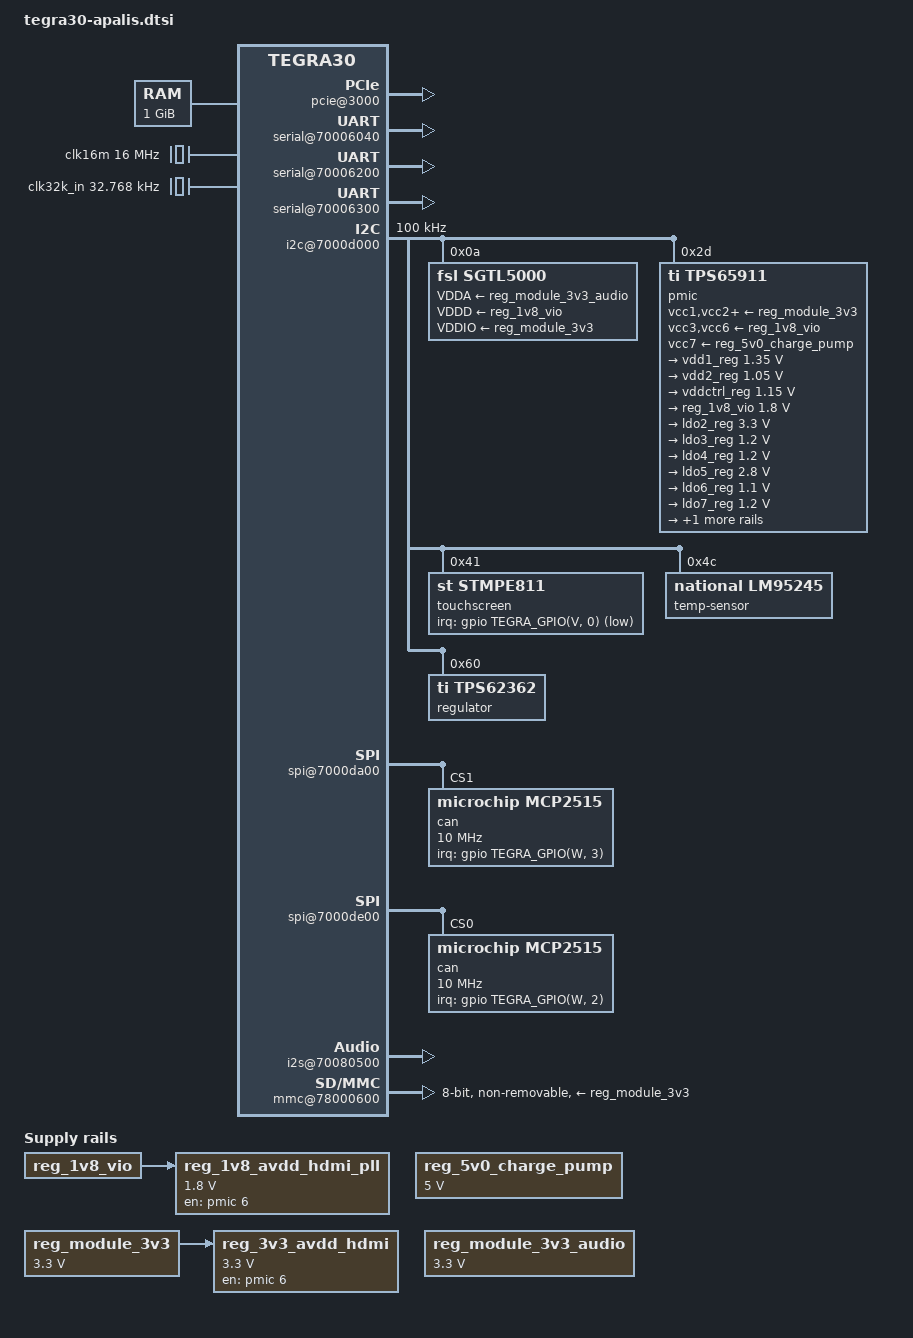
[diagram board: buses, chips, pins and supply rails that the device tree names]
// SPDX-License-Identifier: GPL-2.0
#include "tegra30.dtsi"

/*
 * Toradex Apalis T30 Module Device Tree
 * Compatible for Revisions 1GB: V1.0A; 2GB: V1.0B, V1.0C, V1.0E
 */
/ {
	memory@80000000 {
		reg = <0x80000000 0x40000000>;
	};

	pcie@3000 {
		status = "okay";
		avdd-pexa-supply = <&vdd2_reg>;
		avdd-pexb-supply = <&vdd2_reg>;
		avdd-pex-pll-supply = <&vdd2_reg>;
		avdd-plle-supply = <&ldo6_reg>;
		hvdd-pex-supply = <&reg_module_3v3>;
		vddio-pex-ctl-supply = <&reg_module_3v3>;
		vdd-pexa-supply = <&vdd2_reg>;
		vdd-pexb-supply = <&vdd2_reg>;

		/* Apalis type specific */
		pci@1,0 {
			nvidia,num-lanes = <4>;
		};

		/* Apalis PCIe */
		pci@2,0 {
			nvidia,num-lanes = <1>;
		};

		/* I210/I211 Gigabit Ethernet Controller (on-module) */
		pci@3,0 {
			status = "okay";
			nvidia,num-lanes = <1>;

			ethernet@0,0 {
				reg = <0 0 0 0 0>;
				local-mac-address = [00 00 00 00 00 00];
			};
		};
	};

	host1x@50000000 {
		hdmi@54280000 {
			nvidia,ddc-i2c-bus = <&hdmi_ddc>;
			nvidia,hpd-gpio =
				<&gpio TEGRA_GPIO(N, 7) GPIO_ACTIVE_HIGH>;
			pll-supply = <&reg_1v8_avdd_hdmi_pll>;
			vdd-supply = <&reg_3v3_avdd_hdmi>;
		};
	};

	pinmux@70000868 {
		pinctrl-names = "default";
		pinctrl-0 = <&state_default>;

		state_default: pinmux {
			/* Analogue Audio (On-module) */
			clk1-out-pw4 {
				nvidia,pins = "clk1_out_pw4";
				nvidia,function = "extperiph1";
				nvidia,pull = <TEGRA_PIN_PULL_NONE>;
				nvidia,tristate = <TEGRA_PIN_DISABLE>;
				nvidia,enable-input = <TEGRA_PIN_DISABLE>;
			};
			dap3-fs-pp0 {
				nvidia,pins = "dap3_fs_pp0",
					      "dap3_sclk_pp3",
					      "dap3_din_pp1",
					      "dap3_dout_pp2";
				nvidia,function = "i2s2";
				nvidia,pull = <TEGRA_PIN_PULL_NONE>;
				nvidia,tristate = <TEGRA_PIN_DISABLE>;
			};

			/* Apalis BKL1_ON */
			pv2 {
				nvidia,pins = "pv2";
				nvidia,function = "rsvd4";
				nvidia,pull = <TEGRA_PIN_PULL_NONE>;
				nvidia,tristate = <TEGRA_PIN_DISABLE>;
				nvidia,enable-input = <TEGRA_PIN_DISABLE>;
			};

			/* Apalis BKL1_PWM */
			uart3-rts-n-pc0 {
				nvidia,pins = "uart3_rts_n_pc0";
				nvidia,function = "pwm0";
				nvidia,pull = <TEGRA_PIN_PULL_NONE>;
				nvidia,tristate = <TEGRA_PIN_DISABLE>;
				nvidia,enable-input = <TEGRA_PIN_DISABLE>;
			};
			/* BKL1_PWM_EN#, disable TPS65911 PMIC PWM backlight */
			uart3-cts-n-pa1 {
				nvidia,pins = "uart3_cts_n_pa1";
				nvidia,function = "rsvd2";
				nvidia,pull = <TEGRA_PIN_PULL_UP>;
				nvidia,tristate = <TEGRA_PIN_DISABLE>;
				nvidia,enable-input = <TEGRA_PIN_DISABLE>;
			};

			/* Apalis CAN1 on SPI6 */
			spi2-cs0-n-px3 {
				nvidia,pins = "spi2_cs0_n_px3",
					      "spi2_miso_px1",
					      "spi2_mosi_px0",
					      "spi2_sck_px2";
				nvidia,function = "spi6";
				nvidia,pull = <TEGRA_PIN_PULL_NONE>;
				nvidia,tristate = <TEGRA_PIN_DISABLE>;
			};
			/* CAN_INT1 */
			spi2-cs1-n-pw2 {
				nvidia,pins = "spi2_cs1_n_pw2";
				nvidia,function = "spi3";
				nvidia,pull = <TEGRA_PIN_PULL_NONE>;
				nvidia,tristate = <TEGRA_PIN_DISABLE>;
				nvidia,enable-input = <TEGRA_PIN_ENABLE>;
			};

			/* Apalis CAN2 on SPI4 */
			gmi-a16-pj7 {
				nvidia,pins = "gmi_a16_pj7",
					      "gmi_a17_pb0",
					      "gmi_a18_pb1",
					      "gmi_a19_pk7";
				nvidia,function = "spi4";
				nvidia,pull = <TEGRA_PIN_PULL_NONE>;
				nvidia,tristate = <TEGRA_PIN_DISABLE>;
				nvidia,enable-input = <TEGRA_PIN_ENABLE>;
			};
			/* CAN_INT2 */
			spi2-cs2-n-pw3 {
				nvidia,pins = "spi2_cs2_n_pw3";
				nvidia,function = "spi3";
				nvidia,pull = <TEGRA_PIN_PULL_NONE>;
				nvidia,tristate = <TEGRA_PIN_DISABLE>;
				nvidia,enable-input = <TEGRA_PIN_ENABLE>;
			};

			/* Apalis Digital Audio */
			clk1-req-pee2 {
				nvidia,pins = "clk1_req_pee2";
				nvidia,function = "hda";
				nvidia,pull = <TEGRA_PIN_PULL_NONE>;
				nvidia,tristate = <TEGRA_PIN_DISABLE>;
			};
			clk2-out-pw5 {
				nvidia,pins = "clk2_out_pw5";
				nvidia,function = "extperiph2";
				nvidia,pull = <TEGRA_PIN_PULL_NONE>;
				nvidia,tristate = <TEGRA_PIN_DISABLE>;
				nvidia,enable-input = <TEGRA_PIN_DISABLE>;
			};
			dap1-fs-pn0 {
				nvidia,pins = "dap1_fs_pn0",
					      "dap1_din_pn1",
					      "dap1_dout_pn2",
					      "dap1_sclk_pn3";
				nvidia,function = "hda";
				nvidia,pull = <TEGRA_PIN_PULL_NONE>;
				nvidia,tristate = <TEGRA_PIN_DISABLE>;
			};

			/* Apalis GPIO */
			kb-col0-pq0 {
				nvidia,pins = "kb_col0_pq0",
					      "kb_col1_pq1",
					      "kb_row10_ps2",
					      "kb_row11_ps3",
					      "kb_row12_ps4",
					      "kb_row13_ps5",
					      "kb_row14_ps6",
					      "kb_row15_ps7";
				nvidia,function = "kbc";
				nvidia,pull = <TEGRA_PIN_PULL_NONE>;
				nvidia,tristate = <TEGRA_PIN_DISABLE>;
				nvidia,enable-input = <TEGRA_PIN_ENABLE>;
			};
			/* Multiplexed and therefore disabled */
			owr {
				nvidia,pins = "owr";
				nvidia,function = "rsvd3";
				nvidia,pull = <TEGRA_PIN_PULL_DOWN>;
				nvidia,tristate = <TEGRA_PIN_ENABLE>;
				nvidia,enable-input = <TEGRA_PIN_DISABLE>;
			};

			/* Apalis HDMI1 */
			hdmi-cec-pee3 {
				nvidia,pins = "hdmi_cec_pee3";
				nvidia,function = "cec";
				nvidia,pull = <TEGRA_PIN_PULL_NONE>;
				nvidia,tristate = <TEGRA_PIN_DISABLE>;
				nvidia,enable-input = <TEGRA_PIN_ENABLE>;
				nvidia,open-drain = <TEGRA_PIN_DISABLE>;
			};
			hdmi-int-pn7 {
				nvidia,pins = "hdmi_int_pn7";
				nvidia,function = "hdmi";
				nvidia,pull = <TEGRA_PIN_PULL_NONE>;
				nvidia,tristate = <TEGRA_PIN_ENABLE>;
				nvidia,enable-input = <TEGRA_PIN_ENABLE>;
			};

			/* Apalis I2C1 */
			gen1-i2c-scl-pc4 {
				nvidia,pins = "gen1_i2c_scl_pc4",
					      "gen1_i2c_sda_pc5";
				nvidia,function = "i2c1";
				nvidia,pull = <TEGRA_PIN_PULL_NONE>;
				nvidia,tristate = <TEGRA_PIN_DISABLE>;
				nvidia,enable-input = <TEGRA_PIN_ENABLE>;
				nvidia,open-drain = <TEGRA_PIN_ENABLE>;
			};

			/* Apalis I2C2 (DDC) */
			ddc-scl-pv4 {
				nvidia,pins = "ddc_scl_pv4",
					      "ddc_sda_pv5";
				nvidia,function = "i2c4";
				nvidia,pull = <TEGRA_PIN_PULL_NONE>;
				nvidia,tristate = <TEGRA_PIN_DISABLE>;
				nvidia,enable-input = <TEGRA_PIN_ENABLE>;
			};

			/* Apalis I2C3 (CAM) */
			cam-i2c-scl-pbb1 {
				nvidia,pins = "cam_i2c_scl_pbb1",
					      "cam_i2c_sda_pbb2";
				nvidia,function = "i2c3";
				nvidia,pull = <TEGRA_PIN_PULL_NONE>;
				nvidia,tristate = <TEGRA_PIN_DISABLE>;
				nvidia,enable-input = <TEGRA_PIN_ENABLE>;
				nvidia,open-drain = <TEGRA_PIN_ENABLE>;
			};

			/* Apalis LCD1 */
			lcd-d0-pe0 {
				nvidia,pins = "lcd_d0_pe0",
					      "lcd_d1_pe1",
					      "lcd_d2_pe2",
					      "lcd_d3_pe3",
					      "lcd_d4_pe4",
					      "lcd_d5_pe5",
					      "lcd_d6_pe6",
					      "lcd_d7_pe7",
					      "lcd_d8_pf0",
					      "lcd_d9_pf1",
					      "lcd_d10_pf2",
					      "lcd_d11_pf3",
					      "lcd_d12_pf4",
					      "lcd_d13_pf5",
					      "lcd_d14_pf6",
					      "lcd_d15_pf7",
					      "lcd_d16_pm0",
					      "lcd_d17_pm1",
					      "lcd_d18_pm2",
					      "lcd_d19_pm3",
					      "lcd_d20_pm4",
					      "lcd_d21_pm5",
					      "lcd_d22_pm6",
					      "lcd_d23_pm7",
					      "lcd_de_pj1",
					      "lcd_hsync_pj3",
					      "lcd_pclk_pb3",
					      "lcd_vsync_pj4";
				nvidia,function = "displaya";
				nvidia,pull = <TEGRA_PIN_PULL_NONE>;
				nvidia,tristate = <TEGRA_PIN_DISABLE>;
				nvidia,enable-input = <TEGRA_PIN_ENABLE>;
			};

			/* Apalis MMC1 */
			sdmmc3-clk-pa6 {
				nvidia,pins = "sdmmc3_clk_pa6";
				nvidia,function = "sdmmc3";
				nvidia,pull = <TEGRA_PIN_PULL_NONE>;
				nvidia,tristate = <TEGRA_PIN_DISABLE>;
			};
			sdmmc3-dat0-pb7 {
				nvidia,pins = "sdmmc3_cmd_pa7",
					      "sdmmc3_dat0_pb7",
					      "sdmmc3_dat1_pb6",
					      "sdmmc3_dat2_pb5",
					      "sdmmc3_dat3_pb4",
					      "sdmmc3_dat4_pd1",
					      "sdmmc3_dat5_pd0",
					      "sdmmc3_dat6_pd3",
					      "sdmmc3_dat7_pd4";
				nvidia,function = "sdmmc3";
				nvidia,pull = <TEGRA_PIN_PULL_UP>;
				nvidia,tristate = <TEGRA_PIN_DISABLE>;
			};
			/* Apalis MMC1_CD# */
			pv3 {
				nvidia,pins = "pv3";
				nvidia,function = "rsvd2";
				nvidia,pull = <TEGRA_PIN_PULL_UP>;
				nvidia,tristate = <TEGRA_PIN_DISABLE>;
				nvidia,enable-input = <TEGRA_PIN_ENABLE>;
			};

			/* Apalis Parallel Camera */
			cam-mclk-pcc0 {
				nvidia,pins = "cam_mclk_pcc0";
				nvidia,function = "vi_alt3";
				nvidia,pull = <TEGRA_PIN_PULL_NONE>;
				nvidia,tristate = <TEGRA_PIN_DISABLE>;
				nvidia,enable-input = <TEGRA_PIN_DISABLE>;
			};
			vi-vsync-pd6 {
				nvidia,pins = "vi_d0_pt4",
					      "vi_d1_pd5",
					      "vi_d2_pl0",
					      "vi_d3_pl1",
					      "vi_d4_pl2",
					      "vi_d5_pl3",
					      "vi_d6_pl4",
					      "vi_d7_pl5",
					      "vi_d8_pl6",
					      "vi_d9_pl7",
					      "vi_d10_pt2",
					      "vi_d11_pt3",
					      "vi_hsync_pd7",
					      "vi_pclk_pt0",
					      "vi_vsync_pd6";
				nvidia,function = "vi";
				nvidia,pull = <TEGRA_PIN_PULL_NONE>;
				nvidia,tristate = <TEGRA_PIN_DISABLE>;
				nvidia,enable-input = <TEGRA_PIN_ENABLE>;
			};
			/* Multiplexed and therefore disabled */
			kb-col2-pq2 {
				nvidia,pins = "kb_col2_pq2",
					      "kb_col3_pq3",
					      "kb_col4_pq4",
					      "kb_row4_pr4";
				nvidia,function = "rsvd4";
				nvidia,pull = <TEGRA_PIN_PULL_DOWN>;
				nvidia,tristate = <TEGRA_PIN_ENABLE>;
				nvidia,enable-input = <TEGRA_PIN_DISABLE>;
			};
			kb-row0-pr0 {
				nvidia,pins = "kb_row0_pr0",
					      "kb_row1_pr1",
					      "kb_row2_pr2",
					      "kb_row3_pr3";
				nvidia,function = "rsvd3";
				nvidia,pull = <TEGRA_PIN_PULL_DOWN>;
				nvidia,tristate = <TEGRA_PIN_ENABLE>;
				nvidia,enable-input = <TEGRA_PIN_DISABLE>;
			};
			kb-row5-pr5 {
				nvidia,pins = "kb_row5_pr5",
					      "kb_row6_pr6",
					      "kb_row7_pr7";
				nvidia,function = "kbc";
				nvidia,pull = <TEGRA_PIN_PULL_DOWN>;
				nvidia,tristate = <TEGRA_PIN_ENABLE>;
				nvidia,enable-input = <TEGRA_PIN_DISABLE>;
			};
			/*
			 * VI level-shifter direction
			 * (pull-down => default direction input)
			 */
			vi-mclk-pt1 {
				nvidia,pins = "vi_mclk_pt1";
				nvidia,function = "vi_alt3";
				nvidia,pull = <TEGRA_PIN_PULL_DOWN>;
				nvidia,tristate = <TEGRA_PIN_ENABLE>;
				nvidia,enable-input = <TEGRA_PIN_DISABLE>;
			};

			/* Apalis PWM1 */
			pu6 {
				nvidia,pins = "pu6";
				nvidia,function = "pwm3";
				nvidia,pull = <TEGRA_PIN_PULL_NONE>;
				nvidia,tristate = <TEGRA_PIN_DISABLE>;
			};

			/* Apalis PWM2 */
			pu5 {
				nvidia,pins = "pu5";
				nvidia,function = "pwm2";
				nvidia,pull = <TEGRA_PIN_PULL_NONE>;
				nvidia,tristate = <TEGRA_PIN_DISABLE>;
			};

			/* Apalis PWM3 */
			pu4 {
				nvidia,pins = "pu4";
				nvidia,function = "pwm1";
				nvidia,pull = <TEGRA_PIN_PULL_NONE>;
				nvidia,tristate = <TEGRA_PIN_DISABLE>;
			};

			/* Apalis PWM4 */
			pu3 {
				nvidia,pins = "pu3";
				nvidia,function = "pwm0";
				nvidia,pull = <TEGRA_PIN_PULL_NONE>;
				nvidia,tristate = <TEGRA_PIN_DISABLE>;
			};

			/* Apalis RESET_MOCI# */
			gmi-rst-n-pi4 {
				nvidia,pins = "gmi_rst_n_pi4";
				nvidia,function = "gmi";
				nvidia,pull = <TEGRA_PIN_PULL_NONE>;
				nvidia,tristate = <TEGRA_PIN_DISABLE>;
			};

			/* Apalis SATA1_ACT# */
			pex-l0-prsnt-n-pdd0 {
				nvidia,pins = "pex_l0_prsnt_n_pdd0";
				nvidia,function = "rsvd3";
				nvidia,pull = <TEGRA_PIN_PULL_NONE>;
				nvidia,tristate = <TEGRA_PIN_DISABLE>;
				nvidia,enable-input = <TEGRA_PIN_DISABLE>;
			};

			/* Apalis SD1 */
			sdmmc1-clk-pz0 {
				nvidia,pins = "sdmmc1_clk_pz0";
				nvidia,function = "sdmmc1";
				nvidia,pull = <TEGRA_PIN_PULL_NONE>;
				nvidia,tristate = <TEGRA_PIN_DISABLE>;
			};
			sdmmc1-cmd-pz1 {
				nvidia,pins = "sdmmc1_cmd_pz1",
					      "sdmmc1_dat0_py7",
					      "sdmmc1_dat1_py6",
					      "sdmmc1_dat2_py5",
					      "sdmmc1_dat3_py4";
				nvidia,function = "sdmmc1";
				nvidia,pull = <TEGRA_PIN_PULL_UP>;
				nvidia,tristate = <TEGRA_PIN_DISABLE>;
			};
			/* Apalis SD1_CD# */
			clk2-req-pcc5 {
				nvidia,pins = "clk2_req_pcc5";
				nvidia,function = "rsvd2";
				nvidia,pull = <TEGRA_PIN_PULL_UP>;
				nvidia,tristate = <TEGRA_PIN_DISABLE>;
				nvidia,enable-input = <TEGRA_PIN_ENABLE>;
			};

			/* Apalis SPDIF1 */
			spdif-out-pk5 {
				nvidia,pins = "spdif_out_pk5",
					      "spdif_in_pk6";
				nvidia,function = "spdif";
				nvidia,pull = <TEGRA_PIN_PULL_NONE>;
				nvidia,tristate = <TEGRA_PIN_DISABLE>;
				nvidia,enable-input = <TEGRA_PIN_ENABLE>;
			};

			/* Apalis SPI1 */
			spi1-sck-px5 {
				nvidia,pins = "spi1_sck_px5",
					      "spi1_mosi_px4",
					      "spi1_miso_px7",
					      "spi1_cs0_n_px6";
				nvidia,function = "spi1";
				nvidia,pull = <TEGRA_PIN_PULL_NONE>;
				nvidia,tristate = <TEGRA_PIN_DISABLE>;
			};

			/* Apalis SPI2 */
			lcd-sck-pz4 {
				nvidia,pins = "lcd_sck_pz4",
					      "lcd_sdout_pn5",
					      "lcd_sdin_pz2",
					      "lcd_cs0_n_pn4";
				nvidia,function = "spi5";
				nvidia,pull = <TEGRA_PIN_PULL_NONE>;
				nvidia,tristate = <TEGRA_PIN_DISABLE>;
			};

			/*
			 * Apalis TS (Low-speed type specific)
			 * pins may be used as GPIOs
			 */
			kb-col5-pq5 {
				nvidia,pins = "kb_col5_pq5";
				nvidia,function = "rsvd4";
				nvidia,pull = <TEGRA_PIN_PULL_NONE>;
				nvidia,tristate = <TEGRA_PIN_DISABLE>;
				nvidia,enable-input = <TEGRA_PIN_ENABLE>;
			};
			kb-col6-pq6 {
				nvidia,pins = "kb_col6_pq6",
					      "kb_col7_pq7",
					      "kb_row8_ps0",
					      "kb_row9_ps1";
				nvidia,function = "kbc";
				nvidia,pull = <TEGRA_PIN_PULL_NONE>;
				nvidia,tristate = <TEGRA_PIN_DISABLE>;
				nvidia,enable-input = <TEGRA_PIN_ENABLE>;
			};

			/* Apalis UART1 */
			ulpi-data0 {
				nvidia,pins = "ulpi_data0_po1",
					      "ulpi_data1_po2",
					      "ulpi_data2_po3",
					      "ulpi_data3_po4",
					      "ulpi_data4_po5",
					      "ulpi_data5_po6",
					      "ulpi_data6_po7",
					      "ulpi_data7_po0";
				nvidia,function = "uarta";
				nvidia,pull = <TEGRA_PIN_PULL_NONE>;
				nvidia,tristate = <TEGRA_PIN_DISABLE>;
			};

			/* Apalis UART2 */
			ulpi-clk-py0 {
				nvidia,pins = "ulpi_clk_py0",
					      "ulpi_dir_py1",
					      "ulpi_nxt_py2",
					      "ulpi_stp_py3";
				nvidia,function = "uartd";
				nvidia,pull = <TEGRA_PIN_PULL_NONE>;
				nvidia,tristate = <TEGRA_PIN_DISABLE>;
			};

			/* Apalis UART3 */
			uart2-rxd-pc3 {
				nvidia,pins = "uart2_rxd_pc3",
					      "uart2_txd_pc2";
				nvidia,function = "uartb";
				nvidia,pull = <TEGRA_PIN_PULL_NONE>;
				nvidia,tristate = <TEGRA_PIN_DISABLE>;
			};

			/* Apalis UART4 */
			uart3-rxd-pw7 {
				nvidia,pins = "uart3_rxd_pw7",
					      "uart3_txd_pw6";
				nvidia,function = "uartc";
				nvidia,pull = <TEGRA_PIN_PULL_NONE>;
				nvidia,tristate = <TEGRA_PIN_DISABLE>;
			};

			/* Apalis USBH_EN */
			pex-l0-rst-n-pdd1 {
				nvidia,pins = "pex_l0_rst_n_pdd1";
				nvidia,function = "rsvd3";
				nvidia,pull = <TEGRA_PIN_PULL_NONE>;
				nvidia,tristate = <TEGRA_PIN_DISABLE>;
				nvidia,enable-input = <TEGRA_PIN_DISABLE>;
			};

			/* Apalis USBH_OC# */
			pex-l0-clkreq-n-pdd2 {
				nvidia,pins = "pex_l0_clkreq_n_pdd2";
				nvidia,function = "rsvd3";
				nvidia,pull = <TEGRA_PIN_PULL_NONE>;
				nvidia,tristate = <TEGRA_PIN_DISABLE>;
				nvidia,enable-input = <TEGRA_PIN_ENABLE>;
			};

			/* Apalis USBO1_EN */
			gen2-i2c-scl-pt5 {
				nvidia,pins = "gen2_i2c_scl_pt5";
				nvidia,function = "rsvd4";
				nvidia,open-drain = <TEGRA_PIN_DISABLE>;
				nvidia,pull = <TEGRA_PIN_PULL_NONE>;
				nvidia,tristate = <TEGRA_PIN_DISABLE>;
			};

			/* Apalis USBO1_OC# */
			gen2-i2c-sda-pt6 {
				nvidia,pins = "gen2_i2c_sda_pt6";
				nvidia,function = "rsvd4";
				nvidia,open-drain = <TEGRA_PIN_DISABLE>;
				nvidia,pull = <TEGRA_PIN_PULL_NONE>;
				nvidia,tristate = <TEGRA_PIN_DISABLE>;
				nvidia,enable-input = <TEGRA_PIN_ENABLE>;
			};

			/* Apalis VGA1 not supported and therefore disabled */
			crt-hsync-pv6 {
				nvidia,pins = "crt_hsync_pv6",
					      "crt_vsync_pv7";
				nvidia,function = "rsvd2";
				nvidia,pull = <TEGRA_PIN_PULL_DOWN>;
				nvidia,tristate = <TEGRA_PIN_ENABLE>;
				nvidia,enable-input = <TEGRA_PIN_DISABLE>;
			};

			/* Apalis WAKE1_MICO */
			pv1 {
				nvidia,pins = "pv1";
				nvidia,function = "rsvd1";
				nvidia,pull = <TEGRA_PIN_PULL_NONE>;
				nvidia,tristate = <TEGRA_PIN_DISABLE>;
				nvidia,enable-input = <TEGRA_PIN_ENABLE>;
			};

			/* eMMC (On-module) */
			sdmmc4-clk-pcc4 {
				nvidia,pins = "sdmmc4_clk_pcc4",
					      "sdmmc4_cmd_pt7",
					      "sdmmc4_rst_n_pcc3";
				nvidia,function = "sdmmc4";
				nvidia,pull = <TEGRA_PIN_PULL_NONE>;
				nvidia,tristate = <TEGRA_PIN_DISABLE>;
				nvidia,enable-input = <TEGRA_PIN_ENABLE>;
			};
			sdmmc4-dat0-paa0 {
				nvidia,pins = "sdmmc4_dat0_paa0",
					      "sdmmc4_dat1_paa1",
					      "sdmmc4_dat2_paa2",
					      "sdmmc4_dat3_paa3",
					      "sdmmc4_dat4_paa4",
					      "sdmmc4_dat5_paa5",
					      "sdmmc4_dat6_paa6",
					      "sdmmc4_dat7_paa7";
				nvidia,function = "sdmmc4";
				nvidia,pull = <TEGRA_PIN_PULL_UP>;
				nvidia,tristate = <TEGRA_PIN_DISABLE>;
				nvidia,enable-input = <TEGRA_PIN_ENABLE>;
			};

			/* LAN i210/i211 DEV_OFF_N, PE_RST_N (On-module) */
			pex-l2-prsnt-n-pdd7 {
				nvidia,pins = "pex_l2_prsnt_n_pdd7",
					      "pex_l2_rst_n_pcc6";
				nvidia,function = "pcie";
				nvidia,pull = <TEGRA_PIN_PULL_NONE>;
				nvidia,tristate = <TEGRA_PIN_DISABLE>;
				nvidia,enable-input = <TEGRA_PIN_DISABLE>;
			};
			/* LAN i210/i211 PE_WAKE_N, SDP3 (On-module) */
			pex-wake-n-pdd3 {
				nvidia,pins = "pex_wake_n_pdd3",
					      "pex_l2_clkreq_n_pcc7";
				nvidia,function = "pcie";
				nvidia,pull = <TEGRA_PIN_PULL_NONE>;
				nvidia,tristate = <TEGRA_PIN_DISABLE>;
				nvidia,enable-input = <TEGRA_PIN_ENABLE>;
			};
			/* LAN i210/i211 SMB_ALERT_N (On-module) */
			sys-clk-req-pz5 {
				nvidia,pins = "sys_clk_req_pz5";
				nvidia,function = "rsvd2";
				nvidia,pull = <TEGRA_PIN_PULL_NONE>;
				nvidia,tristate = <TEGRA_PIN_DISABLE>;
				nvidia,enable-input = <TEGRA_PIN_ENABLE>;
			};

			/* LVDS Transceiver Configuration */
			pbb0 {
				nvidia,pins = "pbb0",
					      "pbb7",
					      "pcc1",
					      "pcc2";
				nvidia,function = "rsvd2";
				nvidia,pull = <TEGRA_PIN_PULL_NONE>;
				nvidia,tristate = <TEGRA_PIN_DISABLE>;
				nvidia,enable-input = <TEGRA_PIN_DISABLE>;
			};
			pbb3 {
				nvidia,pins = "pbb3",
					      "pbb4",
					      "pbb5",
					      "pbb6";
				nvidia,function = "displayb";
				nvidia,pull = <TEGRA_PIN_PULL_NONE>;
				nvidia,tristate = <TEGRA_PIN_DISABLE>;
				nvidia,enable-input = <TEGRA_PIN_DISABLE>;
			};

			/* Not connected and therefore disabled */
			clk-32k-out-pa0 {
				nvidia,pins = "clk3_out_pee0",
					      "clk3_req_pee1",
					      "clk_32k_out_pa0",
					      "dap4_din_pp5",
					      "dap4_dout_pp6",
					      "dap4_fs_pp4",
					      "dap4_sclk_pp7";
				nvidia,function = "rsvd2";
				nvidia,pull = <TEGRA_PIN_PULL_DOWN>;
				nvidia,tristate = <TEGRA_PIN_ENABLE>;
				nvidia,enable-input = <TEGRA_PIN_DISABLE>;
			};
			dap2-fs-pa2 {
				nvidia,pins = "dap2_fs_pa2",
					      "dap2_sclk_pa3",
					      "dap2_din_pa4",
					      "dap2_dout_pa5",
					      "lcd_dc0_pn6",
					      "lcd_m1_pw1",
					      "lcd_pwr1_pc1",
					      "pex_l1_clkreq_n_pdd6",
					      "pex_l1_prsnt_n_pdd4",
					      "pex_l1_rst_n_pdd5";
				nvidia,function = "rsvd3";
				nvidia,pull = <TEGRA_PIN_PULL_DOWN>;
				nvidia,tristate = <TEGRA_PIN_ENABLE>;
				nvidia,enable-input = <TEGRA_PIN_DISABLE>;
			};
			gmi-ad0-pg0 {
				nvidia,pins = "gmi_ad0_pg0",
					      "gmi_ad2_pg2",
					      "gmi_ad3_pg3",
					      "gmi_ad4_pg4",
					      "gmi_ad5_pg5",
					      "gmi_ad6_pg6",
					      "gmi_ad7_pg7",
					      "gmi_ad8_ph0",
					      "gmi_ad9_ph1",
					      "gmi_ad10_ph2",
					      "gmi_ad11_ph3",
					      "gmi_ad12_ph4",
					      "gmi_ad13_ph5",
					      "gmi_ad14_ph6",
					      "gmi_ad15_ph7",
					      "gmi_adv_n_pk0",
					      "gmi_clk_pk1",
					      "gmi_cs4_n_pk2",
					      "gmi_cs2_n_pk3",
					      "gmi_dqs_pi2",
					      "gmi_iordy_pi5",
					      "gmi_oe_n_pi1",
					      "gmi_wait_pi7",
					      "gmi_wr_n_pi0",
					      "lcd_cs1_n_pw0",
					      "pu0",
					      "pu1",
					      "pu2";
				nvidia,function = "rsvd4";
				nvidia,pull = <TEGRA_PIN_PULL_DOWN>;
				nvidia,tristate = <TEGRA_PIN_ENABLE>;
				nvidia,enable-input = <TEGRA_PIN_DISABLE>;
			};
			gmi-cs0-n-pj0 {
				nvidia,pins = "gmi_cs0_n_pj0",
					      "gmi_cs1_n_pj2",
					      "gmi_cs3_n_pk4";
				nvidia,function = "rsvd1";
				nvidia,pull = <TEGRA_PIN_PULL_DOWN>;
				nvidia,tristate = <TEGRA_PIN_ENABLE>;
				nvidia,enable-input = <TEGRA_PIN_DISABLE>;
			};
			gmi-cs6-n-pi3 {
				nvidia,pins = "gmi_cs6_n_pi3";
				nvidia,function = "sata";
				nvidia,pull = <TEGRA_PIN_PULL_DOWN>;
				nvidia,tristate = <TEGRA_PIN_ENABLE>;
				nvidia,enable-input = <TEGRA_PIN_DISABLE>;
			};
			gmi-cs7-n-pi6 {
				nvidia,pins = "gmi_cs7_n_pi6";
				nvidia,function = "gmi_alt";
				nvidia,pull = <TEGRA_PIN_PULL_DOWN>;
				nvidia,tristate = <TEGRA_PIN_ENABLE>;
				nvidia,enable-input = <TEGRA_PIN_DISABLE>;
			};
			lcd-pwr0-pb2 {
				nvidia,pins = "lcd_pwr0_pb2",
					      "lcd_pwr2_pc6",
					      "lcd_wr_n_pz3";
				nvidia,function = "hdcp";
				nvidia,pull = <TEGRA_PIN_PULL_DOWN>;
				nvidia,tristate = <TEGRA_PIN_ENABLE>;
				nvidia,enable-input = <TEGRA_PIN_DISABLE>;
			};
			uart2-cts-n-pj5 {
				nvidia,pins = "uart2_cts_n_pj5",
					      "uart2_rts_n_pj6";
				nvidia,function = "gmi";
				nvidia,pull = <TEGRA_PIN_PULL_DOWN>;
				nvidia,tristate = <TEGRA_PIN_ENABLE>;
				nvidia,enable-input = <TEGRA_PIN_DISABLE>;
			};

			/* Power I2C (On-module) */
			pwr-i2c-scl-pz6 {
				nvidia,pins = "pwr_i2c_scl_pz6",
					      "pwr_i2c_sda_pz7";
				nvidia,function = "i2cpwr";
				nvidia,pull = <TEGRA_PIN_PULL_NONE>;
				nvidia,tristate = <TEGRA_PIN_DISABLE>;
				nvidia,enable-input = <TEGRA_PIN_ENABLE>;
				nvidia,open-drain = <TEGRA_PIN_ENABLE>;
			};

			/*
			 * THERMD_ALERT#, unlatched I2C address pin of LM95245
			 * temperature sensor therefore requires disabling for
			 * now
			 */
			lcd-dc1-pd2 {
				nvidia,pins = "lcd_dc1_pd2";
				nvidia,function = "rsvd3";
				nvidia,pull = <TEGRA_PIN_PULL_DOWN>;
				nvidia,tristate = <TEGRA_PIN_ENABLE>;
				nvidia,enable-input = <TEGRA_PIN_DISABLE>;
			};

			/* TOUCH_PEN_INT# (On-module) */
			pv0 {
				nvidia,pins = "pv0";
				nvidia,function = "rsvd1";
				nvidia,pull = <TEGRA_PIN_PULL_NONE>;
				nvidia,tristate = <TEGRA_PIN_DISABLE>;
				nvidia,enable-input = <TEGRA_PIN_ENABLE>;
			};
		};
	};

	serial@70006040 {
		compatible = "nvidia,tegra30-hsuart";
		reset-names = "serial";
		/delete-property/ reg-shift;
	};

	serial@70006200 {
		compatible = "nvidia,tegra30-hsuart";
		reset-names = "serial";
		/delete-property/ reg-shift;
	};

	serial@70006300 {
		compatible = "nvidia,tegra30-hsuart";
		reset-names = "serial";
		/delete-property/ reg-shift;
	};

	hdmi_ddc: i2c@7000c700 {
		clock-frequency = <10000>;
	};

	/*
	 * PWR_I2C: power I2C to audio codec, PMIC, temperature sensor and
	 * touch screen controller
	 */
	i2c@7000d000 {
		status = "okay";
		clock-frequency = <100000>;

		/* SGTL5000 audio codec */
		sgtl5000: codec@a {
			compatible = "fsl,sgtl5000";
			reg = <0x0a>;
			#sound-dai-cells = <0>;
			VDDA-supply = <&reg_module_3v3_audio>;
			VDDD-supply = <&reg_1v8_vio>;
			VDDIO-supply = <&reg_module_3v3>;
			clocks = <&tegra_car TEGRA30_CLK_EXTERN1>;
		};

		pmic: pmic@2d {
			compatible = "ti,tps65911";
			reg = <0x2d>;

			interrupts = <GIC_SPI 86 IRQ_TYPE_LEVEL_HIGH>;
			#interrupt-cells = <2>;
			interrupt-controller;
			wakeup-source;

			ti,system-power-controller;

			#gpio-cells = <2>;
			gpio-controller;

			vcc1-supply = <&reg_module_3v3>;
			vcc2-supply = <&reg_module_3v3>;
			vcc3-supply = <&reg_1v8_vio>;
			vcc4-supply = <&reg_module_3v3>;
			vcc5-supply = <&reg_module_3v3>;
			vcc6-supply = <&reg_1v8_vio>;
			vcc7-supply = <&reg_5v0_charge_pump>;
			vccio-supply = <&reg_module_3v3>;

			regulators {
				vdd1_reg: vdd1 {
					regulator-name = "+V1.35_VDDIO_DDR";
					regulator-min-microvolt = <1350000>;
					regulator-max-microvolt = <1350000>;
					regulator-always-on;
				};

				vdd2_reg: vdd2 {
					regulator-name = "+V1.05";
					regulator-min-microvolt = <1050000>;
					regulator-max-microvolt = <1050000>;
				};

				vddctrl_reg: vddctrl {
					regulator-name = "+V1.0_VDD_CPU";
					regulator-min-microvolt = <1150000>;
					regulator-max-microvolt = <1150000>;
					regulator-always-on;
				};

				reg_1v8_vio: vio {
					regulator-name = "+V1.8";
					regulator-min-microvolt = <1800000>;
					regulator-max-microvolt = <1800000>;
					regulator-always-on;
				};

				/* LDO1: unused */

				/*
				 * EN_+V3.3 switching via FET:
				 * +V3.3_AUDIO_AVDD_S, +V3.3
				 * see also +V3.3 fixed supply
				 */
				ldo2_reg: ldo2 {
					regulator-name = "EN_+V3.3";
					regulator-min-microvolt = <3300000>;
					regulator-max-microvolt = <3300000>;
					regulator-always-on;
				};

				ldo3_reg: ldo3 {
					regulator-name = "+V1.2_CSI";
					regulator-min-microvolt = <1200000>;
					regulator-max-microvolt = <1200000>;
				};

				ldo4_reg: ldo4 {
					regulator-name = "+V1.2_VDD_RTC";
					regulator-min-microvolt = <1200000>;
					regulator-max-microvolt = <1200000>;
					regulator-always-on;
				};

				/*
				 * +V2.8_AVDD_VDAC:
				 * only required for (unsupported) analog RGB
				 */
				ldo5_reg: ldo5 {
					regulator-name = "+V2.8_AVDD_VDAC";
					regulator-min-microvolt = <2800000>;
					regulator-max-microvolt = <2800000>;
					regulator-always-on;
				};

				/*
				 * +V1.05_AVDD_PLLE: avdd_plle should be 1.05V
				 * but LDO6 can't set voltage in 50mV
				 * granularity
				 */
				ldo6_reg: ldo6 {
					regulator-name = "+V1.05_AVDD_PLLE";
					regulator-min-microvolt = <1100000>;
					regulator-max-microvolt = <1100000>;
				};

				ldo7_reg: ldo7 {
					regulator-name = "+V1.2_AVDD_PLL";
					regulator-min-microvolt = <1200000>;
					regulator-max-microvolt = <1200000>;
					regulator-always-on;
				};

				ldo8_reg: ldo8 {
					regulator-name = "+V1.0_VDD_DDR_HS";
					regulator-min-microvolt = <1000000>;
					regulator-max-microvolt = <1000000>;
					regulator-always-on;
				};
			};
		};

		/* STMPE811 touch screen controller */
		touchscreen@41 {
			compatible = "st,stmpe811";
			reg = <0x41>;
			irq-gpio = <&gpio TEGRA_GPIO(V, 0) GPIO_ACTIVE_LOW>;
			interrupt-controller;
			id = <0>;
			blocks = <0x5>;
			irq-trigger = <0x1>;
			/* 3.25 MHz ADC clock speed */
			st,adc-freq = <1>;
			/* 12-bit ADC */
			st,mod-12b = <1>;
			/* internal ADC reference */
			st,ref-sel = <0>;
			/* ADC converstion time: 80 clocks */
			st,sample-time = <4>;

			stmpe_adc {
				compatible = "st,stmpe-adc";
				/* forbid to use ADC channels 3-0 (touch) */
				st,norequest-mask = <0x0F>;
			};

			stmpe_touchscreen {
				compatible = "st,stmpe-ts";
				/* 8 sample average control */
				st,ave-ctrl = <3>;
				/* 7 length fractional part in z */
				st,fraction-z = <7>;
				/*
				 * 50 mA typical 80 mA max touchscreen drivers
				 * current limit value
				 */
				st,i-drive = <1>;
				/* 1 ms panel driver settling time */
				st,settling = <3>;
				/* 5 ms touch detect interrupt delay */
				st,touch-det-delay = <5>;
			};
		};

		/*
		 * LM95245 temperature sensor
		 * Note: OVERT1# directly connected to TPS65911 PMIC PWRDN
		 */
		temp-sensor@4c {
			compatible = "national,lm95245";
			reg = <0x4c>;
		};

		/* SW: +V1.2_VDD_CORE */
		regulator@60 {
			compatible = "ti,tps62362";
			reg = <0x60>;

			regulator-name = "tps62362-vout";
			regulator-min-microvolt = <900000>;
			regulator-max-microvolt = <1400000>;
			regulator-boot-on;
			regulator-always-on;
		};
	};

	/* SPI4: CAN2 */
	spi@7000da00 {
		status = "okay";
		spi-max-frequency = <10000000>;

		can@1 {
			compatible = "microchip,mcp2515";
			reg = <1>;
			clocks = <&clk16m>;
			interrupt-parent = <&gpio>;
			interrupts = <TEGRA_GPIO(W, 3) IRQ_TYPE_EDGE_FALLING>;
			spi-max-frequency = <10000000>;
		};
	};

	/* SPI6: CAN1 */
	spi@7000de00 {
		status = "okay";
		spi-max-frequency = <10000000>;

		can@0 {
			compatible = "microchip,mcp2515";
			reg = <0>;
			clocks = <&clk16m>;
			interrupt-parent = <&gpio>;
			interrupts = <TEGRA_GPIO(W, 2) IRQ_TYPE_EDGE_FALLING>;
			spi-max-frequency = <10000000>;
		};
	};

	pmc@7000e400 {
		nvidia,invert-interrupt;
		nvidia,suspend-mode = <1>;
		nvidia,cpu-pwr-good-time = <5000>;
		nvidia,cpu-pwr-off-time = <5000>;
		nvidia,core-pwr-good-time = <3845 3845>;
		nvidia,core-pwr-off-time = <0>;
		nvidia,core-power-req-active-high;
		nvidia,sys-clock-req-active-high;

		/* Set DEV_OFF bit in DCDC control register of TPS65911 PMIC */
		i2c-thermtrip {
			nvidia,i2c-controller-id = <4>;
			nvidia,bus-addr = <0x2d>;
			nvidia,reg-addr = <0x3f>;
			nvidia,reg-data = <0x1>;
		};
	};

	hda@70030000 {
		status = "okay";
	};

	ahub@70080000 {
		i2s@70080500 {
			status = "okay";
		};
	};

	/* eMMC */
	mmc@78000600 {
		status = "okay";
		bus-width = <8>;
		non-removable;
		vmmc-supply = <&reg_module_3v3>; /* VCC */
		vqmmc-supply = <&reg_1v8_vio>; /* VCCQ */
		mmc-ddr-1_8v;
	};

	clk16m: clock-osc4 {
		compatible = "fixed-clock";
		#clock-cells = <0>;
		clock-frequency = <16000000>;
	};

	clk32k_in: clock-xtal1 {
		compatible = "fixed-clock";
		#clock-cells = <0>;
		clock-frequency = <32768>;
	};

	reg_1v8_avdd_hdmi_pll: regulator-1v8-avdd-hdmi-pll {
		compatible = "regulator-fixed";
		regulator-name = "+V1.8_AVDD_HDMI_PLL";
		regulator-min-microvolt = <1800000>;
		regulator-max-microvolt = <1800000>;
		enable-active-high;
		gpio = <&pmic 6 GPIO_ACTIVE_HIGH>;
		vin-supply = <&reg_1v8_vio>;
	};

	reg_3v3_avdd_hdmi: regulator-3v3-avdd-hdmi {
		compatible = "regulator-fixed";
		regulator-name = "+V3.3_AVDD_HDMI";
		regulator-min-microvolt = <3300000>;
		regulator-max-microvolt = <3300000>;
		enable-active-high;
		gpio = <&pmic 6 GPIO_ACTIVE_HIGH>;
		vin-supply = <&reg_module_3v3>;
	};

	reg_5v0_charge_pump: regulator-5v0-charge-pump {
		compatible = "regulator-fixed";
		regulator-name = "+V5.0";
		regulator-min-microvolt = <5000000>;
		regulator-max-microvolt = <5000000>;
		regulator-always-on;
	};

	reg_module_3v3: regulator-module-3v3 {
		compatible = "regulator-fixed";
		regulator-name = "+V3.3";
		regulator-min-microvolt = <3300000>;
		regulator-max-microvolt = <3300000>;
		regulator-always-on;
	};

	reg_module_3v3_audio: regulator-module-3v3-audio {
		compatible = "regulator-fixed";
		regulator-name = "+V3.3_AUDIO_AVDD_S";
		regulator-min-microvolt = <3300000>;
		regulator-max-microvolt = <3300000>;
		regulator-always-on;
	};

	sound {
		compatible = "toradex,tegra-audio-sgtl5000-apalis_t30",
			     "nvidia,tegra-audio-sgtl5000";
		nvidia,model = "Toradex Apalis T30";
		nvidia,audio-routing =
			"Headphone Jack", "HP_OUT",
			"LINE_IN", "Line In Jack",
			"MIC_IN", "Mic Jack";
		nvidia,i2s-controller = <&tegra_i2s2>;
		nvidia,audio-codec = <&sgtl5000>;
		clocks = <&tegra_car TEGRA30_CLK_PLL_A>,
			 <&tegra_car TEGRA30_CLK_PLL_A_OUT0>,
			 <&tegra_pmc TEGRA_PMC_CLK_OUT_1>;
		clock-names = "pll_a", "pll_a_out0", "mclk";

		assigned-clocks = <&tegra_car TEGRA30_CLK_EXTERN1>,
				  <&tegra_pmc TEGRA_PMC_CLK_OUT_1>;

		assigned-clock-parents = <&tegra_car TEGRA30_CLK_PLL_A_OUT0>,
					 <&tegra_car TEGRA30_CLK_EXTERN1>;
	};
};
